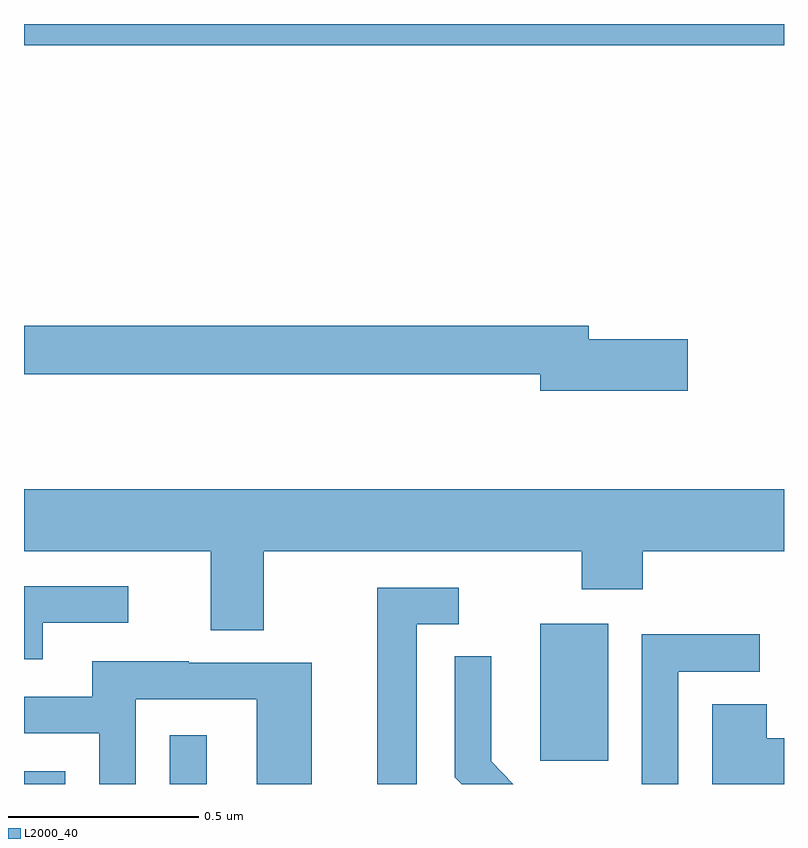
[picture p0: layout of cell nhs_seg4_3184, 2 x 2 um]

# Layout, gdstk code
import gdstk
lib = gdstk.Library(unit=1e-6, precision=1e-09)
def R(c, l, rs):  # rectangles x0, y0, x1, y1
    for r in rs: c.add(gdstk.rectangle(r[:2], r[2:], *l))
def P(c, l, *ps):  # polygons
    for p in ps: c.add(gdstk.Polygon(p, *l))
L2000_40 = (2000, 40)

nhs_seg4_3184 = lib.new_cell('nhs_seg4_3184')
R(nhs_seg4_3184, L2000_40, [(150,770.9,150.108,770.934), (150.384,770.9,150.481,771.028), (151.358,770.961,151.537,771.322), (150,772.844,152,772.9)])
P(nhs_seg4_3184, L2000_40, [(151.747,772.07),(151.486,772.07),(151.486,772.106),(150,772.106),(150,771.978),(151.358,771.978),(151.358,771.935),(151.747,771.935)],
  [(150.631,771.512),(151.468,771.512),(151.468,771.413),(151.628,771.413),(151.628,771.512),(152,771.512),(152,771.676),(150,771.676),(150,771.512),(150.491,771.512),(150.491,771.304),(150.631,771.304)],
  [(150.049,771.324),(150.274,771.324),(150.274,771.42),(150,771.42),(150,771.228),(150.049,771.228)],
  [(151.033,771.321),(151.144,771.321),(151.144,771.417),(150.929,771.417),(150.929,770.9),(151.033,770.9)],
  [(151.722,771.195),(151.936,771.195),(151.936,771.294),(151.626,771.294),(151.626,770.9),(151.722,770.9)],
  [(151.229,770.96),(151.229,771.082),(151.23,771.082),(151.23,771.236),(151.134,771.236),(151.134,770.918),(151.152,770.9),(151.288,770.9)],
  [(150.294,771.123),(150.612,771.123),(150.612,770.9),(150.757,770.9),(150.757,771.219),(150.433,771.219),(150.433,771.223),(150.179,771.223),(150.179,771.129),(150,771.129),(150,771.033),(150.198,771.033),(150.198,770.9),(150.294,770.9)],
  [(152,771.02),(151.955,771.02),(151.955,771.11),(151.811,771.11),(151.811,770.9),(152,770.9)])

lib.write_gds('nhs_seg4_3184.gds')
